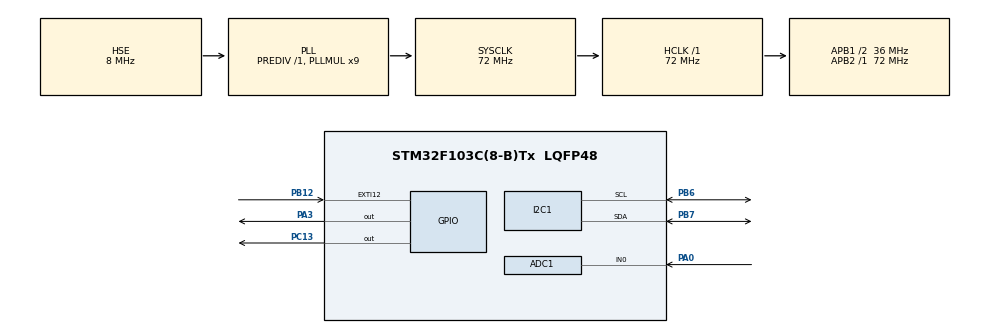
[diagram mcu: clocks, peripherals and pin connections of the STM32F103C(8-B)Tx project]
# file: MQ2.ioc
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ADC1.Channel-2\#ChannelRegularConversion=ADC_CHANNEL_0
ADC1.NbrOfConversionFlag=1
ADC1.Rank-2\#ChannelRegularConversion=1
ADC1.SamplingTime-2\#ChannelRegularConversion=ADC_SAMPLETIME_1CYCLE_5
ADC1.master=1
Mcu.Family=STM32F1
Mcu.Name=STM32F103C(8-B)Tx
Mcu.Package=LQFP48
NVIC.EXTI15_10_IRQn=true\:1\:0\:true\:false\:true\:true\:true\:true
NVIC.PriorityGroup=NVIC_PRIORITYGROUP_4
NVIC.TIM1_UP_IRQn=true\:1\:0\:true\:false\:true\:true\:true\:true
PA0-WKUP.Signal=ADCx_IN0
PA13.Mode=Serial_Wire
PA13.Signal=SYS_JTMS-SWDIO
PA14.Mode=Serial_Wire
PA14.Signal=SYS_JTCK-SWCLK
PA3.PinState=GPIO_PIN_RESET
PA3.Signal=GPIO_Output
PB12.GPIO_ModeDefaultEXTI=GPIO_MODE_IT_FALLING
PB12.GPIO_PuPd=GPIO_PULLUP
PB12.Signal=GPXTI12
PB6.Mode=I2C
PB6.Signal=I2C1_SCL
PB7.Mode=I2C
PB7.Signal=I2C1_SDA
PC13-TAMPER-RTC.PinState=GPIO_PIN_SET
PC13-TAMPER-RTC.Signal=GPIO_Output
PD0-OSC_IN.Mode=HSE-External-Oscillator
PD0-OSC_IN.Signal=RCC_OSC_IN
PD1-OSC_OUT.Mode=HSE-External-Oscillator
PD1-OSC_OUT.Signal=RCC_OSC_OUT
ProjectManager.HeapSize=0x200
ProjectManager.StackSize=0x400
ProjectManager.TargetToolchain=MDK-ARM V5.32
RCC.ADCPresc=RCC_ADCPCLK2_DIV6
RCC.AHBFreq_Value=72000000
RCC.APB1CLKDivider=RCC_HCLK_DIV2
RCC.APB1Freq_Value=36000000
RCC.APB1TimFreq_Value=72000000
RCC.APB2Freq_Value=72000000
RCC.APB2TimFreq_Value=72000000
RCC.HCLKFreq_Value=72000000
RCC.PLLMUL=RCC_PLL_MUL9
RCC.PLLSourceVirtual=RCC_PLLSOURCE_HSE
RCC.SYSCLKFreq_VALUE=72000000
RCC.SYSCLKSource=RCC_SYSCLKSOURCE_PLLCLK
RCC.USBFreq_Value=72000000
SH.ADCx_IN0.0=ADC1_IN0,IN0
TIM1.Period=1999
TIM1.Prescaler=7199
VP_TIM1_VS_ClockSourceINT.Mode=Internal
board=custom

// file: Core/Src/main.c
/* USER CODE BEGIN Header */
/**
  ******************************************************************************
  * @file           : main.c
  * @brief          : Main program body
  ******************************************************************************
  * @attention
  *
  * Copyright (c) 2025 STMicroelectronics.
  * All rights reserved.
  *
  * This software is licensed under terms that can be found in the LICENSE file
  * in the root directory of this software component.
  * If no LICENSE file comes with this software, it is provided AS-IS.
  *
  ******************************************************************************
  */
/* USER CODE END Header */
#include "main.h"

/* USER CODE BEGIN Includes */
#include "Mq2.h"
#include "i2c-lcd.h"
#include <stdio.h>
#include <string.h>
/* USER CODE END Includes */

ADC_HandleTypeDef hadc1;

I2C_HandleTypeDef hi2c1;

TIM_HandleTypeDef htim1;

/* USER CODE BEGIN PV */
Tyde_Def_MQ2 mq2;
char lcd_buffer[16];
/* USER CODE END PV */

void SystemClock_Config(void);
static void MX_GPIO_Init(void);
static void MX_ADC1_Init(void);
static void MX_I2C1_Init(void);
static void MX_TIM1_Init(void);

/* USER CODE BEGIN 0 */
void HAL_GPIO_EXTI_Callback(uint16_t GPIO_Pin){ //bat tat tai
	if(GPIO_Pin == GPIO_PIN_12){
		HAL_GPIO_TogglePin(GPIOA, GPIO_PIN_3);
	}
}

void HAL_TIM_PeriodElapsedCallback(TIM_HandleTypeDef *htim){
	 if (htim->Instance == TIM1) {
    Mq2_handle(&mq2);

    snprintf(lcd_buffer, sizeof(lcd_buffer), "PPM: %.1f", mq2.ppm);
    lcd_put_cur(1, 0);
    lcd_send_string("                ");
    lcd_put_cur(1, 0);
    lcd_send_string(lcd_buffer);

    if (mq2.ppm > 3.0f) {
      lcd_put_cur(0, 0);
      lcd_send_string("GAS NGUY HIEM! "); // Gas ro ri muc cao -> Bat den canh bao
      HAL_GPIO_WritePin(GPIOC, GPIO_PIN_13, GPIO_PIN_RESET);
			HAL_GPIO_WritePin(GPIOA, GPIO_PIN_3, GPIO_PIN_RESET);// Ngat cau dao
    } else if (mq2.ppm > 1.5f) {
      lcd_put_cur(0, 0);
      lcd_send_string("GAS RO RI!     ");// Gas bat dau ro ri -> Nhay den canh bao timer 200ms
      HAL_GPIO_TogglePin(GPIOC, GPIO_PIN_13);
    } else {
      lcd_put_cur(0, 0);
      lcd_send_string("GAS AN TOAN    ");// Gas khong ro ri -> Den canh bao tat
      HAL_GPIO_WritePin(GPIOC, GPIO_PIN_13, GPIO_PIN_SET);
    }
  }
}
/* USER CODE END 0 */

int main(void)
{

  /* MCU Configuration--------------------------------------------------------*/

  /* Reset of all peripherals, Initializes the Flash interface and the Systick. */
  HAL_Init();

  /* Configure the system clock */
  SystemClock_Config();

  /* Initialize all configured peripherals */
  MX_GPIO_Init();
  MX_ADC1_Init();
  MX_I2C1_Init();
  MX_TIM1_Init();
  /* USER CODE BEGIN 2 */

  // Khoi tao LCD
  lcd_init();

  // Hien thi thong bao khoi dong
  lcd_clear();
  lcd_put_cur(0, 0);
  lcd_send_string("PHAT HIEN KHI GA");
  HAL_Delay(1500);

  // Khoi tao MQ2 (gi su phat hien LPG: a = 0.5, b = 2.162)
  Mq2_init(&mq2, &hadc1, 0.5f, -2.162f);

  // Hieu chuan MQ2 trong khong khi sach
  lcd_clear();
  lcd_put_cur(0, 0);
  lcd_send_string("LOADING...");
  Mq2_calibrate(&mq2);
  HAL_Delay(1000);

  // Hien thi trang thai san sang
  lcd_clear();
  lcd_put_cur(0, 0);
  lcd_send_string("SAN SANG!");
	HAL_Delay(1000);
	lcd_clear();

	HAL_TIM_Base_Start_IT(&htim1);
  /* USER CODE END 2 */

  /* Infinite loop */
  while (1)
  {

  }
}

void SystemClock_Config(void)
{
  RCC_OscInitTypeDef RCC_OscInitStruct = {0};
  RCC_ClkInitTypeDef RCC_ClkInitStruct = {0};
  RCC_PeriphCLKInitTypeDef PeriphClkInit = {0};

  /** Initializes the RCC Oscillators according to the specified parameters
  * in the RCC_OscInitTypeDef structure.
  */
  RCC_OscInitStruct.OscillatorType = RCC_OSCILLATORTYPE_HSE;
  RCC_OscInitStruct.HSEState = RCC_HSE_ON;
  RCC_OscInitStruct.HSEPredivValue = RCC_HSE_PREDIV_DIV1;
  RCC_OscInitStruct.HSIState = RCC_HSI_ON;
  RCC_OscInitStruct.PLL.PLLState = RCC_PLL_ON;
  RCC_OscInitStruct.PLL.PLLSource = RCC_PLLSOURCE_HSE;
  RCC_OscInitStruct.PLL.PLLMUL = RCC_PLL_MUL9;
  if (HAL_RCC_OscConfig(&RCC_OscInitStruct) != HAL_OK)
  {
    Error_Handler();
  }

  /** Initializes the CPU, AHB and APB buses clocks
  */
  RCC_ClkInitStruct.ClockType = RCC_CLOCKTYPE_HCLK|RCC_CLOCKTYPE_SYSCLK
                              |RCC_CLOCKTYPE_PCLK1|RCC_CLOCKTYPE_PCLK2;
  RCC_ClkInitStruct.SYSCLKSource = RCC_SYSCLKSOURCE_PLLCLK;
  RCC_ClkInitStruct.AHBCLKDivider = RCC_SYSCLK_DIV1;
  RCC_ClkInitStruct.APB1CLKDivider = RCC_HCLK_DIV2;
  RCC_ClkInitStruct.APB2CLKDivider = RCC_HCLK_DIV1;

  if (HAL_RCC_ClockConfig(&RCC_ClkInitStruct, FLASH_LATENCY_2) != HAL_OK)
  {
    Error_Handler();
  }
  PeriphClkInit.PeriphClockSelection = RCC_PERIPHCLK_ADC;
  PeriphClkInit.AdcClockSelection = RCC_ADCPCLK2_DIV6;
  if (HAL_RCCEx_PeriphCLKConfig(&PeriphClkInit) != HAL_OK)
  {
    Error_Handler();
  }
}

static void MX_ADC1_Init(void)
{

  ADC_ChannelConfTypeDef sConfig = {0};

  /** Common config
  */
  hadc1.Instance = ADC1;
  hadc1.Init.ScanConvMode = ADC_SCAN_DISABLE;
  hadc1.Init.ContinuousConvMode = DISABLE;
  hadc1.Init.DiscontinuousConvMode = DISABLE;
  hadc1.Init.ExternalTrigConv = ADC_SOFTWARE_START;
  hadc1.Init.DataAlign = ADC_DATAALIGN_RIGHT;
  hadc1.Init.NbrOfConversion = 1;
  if (HAL_ADC_Init(&hadc1) != HAL_OK)
  {
    Error_Handler();
  }

  /** Configure Regular Channel
  */
  sConfig.Channel = ADC_CHANNEL_0;
  sConfig.Rank = ADC_REGULAR_RANK_1;
  sConfig.SamplingTime = ADC_SAMPLETIME_1CYCLE_5;
  if (HAL_ADC_ConfigChannel(&hadc1, &sConfig) != HAL_OK)
  {
    Error_Handler();
  }

}

static void MX_I2C1_Init(void)
{

  hi2c1.Instance = I2C1;
  hi2c1.Init.ClockSpeed = 100000;
  hi2c1.Init.DutyCycle = I2C_DUTYCYCLE_2;
  hi2c1.Init.OwnAddress1 = 0;
  hi2c1.Init.AddressingMode = I2C_ADDRESSINGMODE_7BIT;
  hi2c1.Init.DualAddressMode = I2C_DUALADDRESS_DISABLE;
  hi2c1.Init.OwnAddress2 = 0;
  hi2c1.Init.GeneralCallMode = I2C_GENERALCALL_DISABLE;
  hi2c1.Init.NoStretchMode = I2C_NOSTRETCH_DISABLE;
  if (HAL_I2C_Init(&hi2c1) != HAL_OK)
  {
    Error_Handler();
  }

}

static void MX_TIM1_Init(void)
{

  TIM_ClockConfigTypeDef sClockSourceConfig = {0};
  TIM_MasterConfigTypeDef sMasterConfig = {0};

  htim1.Instance = TIM1;
  htim1.Init.Prescaler = 7199;
  htim1.Init.CounterMode = TIM_COUNTERMODE_UP;
  htim1.Init.Period = 1999;
  htim1.Init.ClockDivision = TIM_CLOCKDIVISION_DIV1;
  htim1.Init.RepetitionCounter = 0;
  htim1.Init.AutoReloadPreload = TIM_AUTORELOAD_PRELOAD_DISABLE;
  if (HAL_TIM_Base_Init(&htim1) != HAL_OK)
  {
    Error_Handler();
  }
  sClockSourceConfig.ClockSource = TIM_CLOCKSOURCE_INTERNAL;
  if (HAL_TIM_ConfigClockSource(&htim1, &sClockSourceConfig) != HAL_OK)
  {
    Error_Handler();
  }
  sMasterConfig.MasterOutputTrigger = TIM_TRGO_RESET;
  sMasterConfig.MasterSlaveMode = TIM_MASTERSLAVEMODE_DISABLE;
  if (HAL_TIMEx_MasterConfigSynchronization(&htim1, &sMasterConfig) != HAL_OK)
  {
    Error_Handler();
  }

}

static void MX_GPIO_Init(void)
{
  GPIO_InitTypeDef GPIO_InitStruct = {0};

  /* GPIO Ports Clock Enable */
  __HAL_RCC_GPIOC_CLK_ENABLE();
  __HAL_RCC_GPIOD_CLK_ENABLE();
  __HAL_RCC_GPIOA_CLK_ENABLE();
  __HAL_RCC_GPIOB_CLK_ENABLE();

  /*Configure GPIO pin Output Level */
  HAL_GPIO_WritePin(GPIOC, GPIO_PIN_13, GPIO_PIN_SET);

  /*Configure GPIO pin Output Level */
  HAL_GPIO_WritePin(GPIOA, GPIO_PIN_3, GPIO_PIN_RESET);

  /*Configure GPIO pin : PC13 */
  GPIO_InitStruct.Pin = GPIO_PIN_13;
  GPIO_InitStruct.Mode = GPIO_MODE_OUTPUT_PP;
  GPIO_InitStruct.Pull = GPIO_NOPULL;
  GPIO_InitStruct.Speed = GPIO_SPEED_FREQ_LOW;
  HAL_GPIO_Init(GPIOC, &GPIO_InitStruct);

  /*Configure GPIO pin : PA3 */
  GPIO_InitStruct.Pin = GPIO_PIN_3;
  GPIO_InitStruct.Mode = GPIO_MODE_OUTPUT_PP;
  GPIO_InitStruct.Pull = GPIO_NOPULL;
  GPIO_InitStruct.Speed = GPIO_SPEED_FREQ_LOW;
  HAL_GPIO_Init(GPIOA, &GPIO_InitStruct);

  /*Configure GPIO pin : PB12 */
  GPIO_InitStruct.Pin = GPIO_PIN_12;
  GPIO_InitStruct.Mode = GPIO_MODE_IT_FALLING;
  GPIO_InitStruct.Pull = GPIO_PULLUP;
  HAL_GPIO_Init(GPIOB, &GPIO_InitStruct);

  /* EXTI interrupt init*/
  HAL_NVIC_SetPriority(EXTI15_10_IRQn, 1, 0);
  HAL_NVIC_EnableIRQ(EXTI15_10_IRQn);

}

void Error_Handler(void)
{
  __disable_irq();
  while (1)
  {
  }
}
